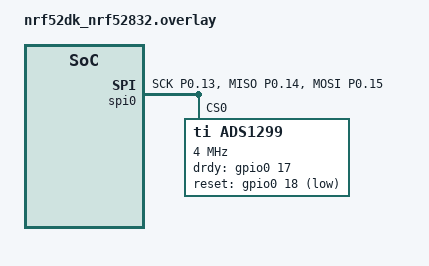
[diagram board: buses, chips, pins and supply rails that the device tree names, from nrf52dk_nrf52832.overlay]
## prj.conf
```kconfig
CONFIG_SPI=y
CONFIG_GPIO=y
CONFIG_LOG=y
CONFIG_SOC_NRF52832_ALLOW_SPIM_DESPITE_PAN_58=y
CONFIG_LOG_BACKEND_UART=y
```

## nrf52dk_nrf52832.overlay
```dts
&spi0 {
    compatible = "nordic,nrf-spim";
    status = "okay";
    pinctrl-0 = <&spi0_default>;
    pinctrl-1 = <&spi0_sleep>;
    pinctrl-names = "default", "sleep";

    ads1299: ads1299@0 {
        compatible = "ti,ads1299";
        reg = <0>;
        spi-max-frequency = <4000000>;
        spi-cpha;                  // Mode 1
        full-duplex;
        label = "ADS1299";

        cs-gpios = <&gpio0 16 GPIO_ACTIVE_LOW>;
        drdy-gpios = <&gpio0 17 GPIO_ACTIVE_HIGH>;
        reset-gpios = <&gpio0 18 GPIO_ACTIVE_LOW>;
    };
};

&pinctrl {
    spi0_default: spi0_default {
        group1 {
            psels = <NRF_PSEL(SPIM_SCK, 0, 13)>,
                    <NRF_PSEL(SPIM_MISO, 0, 14)>,
                    <NRF_PSEL(SPIM_MOSI, 0, 15)>;
        };
    };

    spi0_sleep: spi0_sleep {
        group1 {
            psels = <NRF_PSEL(SPIM_SCK, 0, 13)>,
                    <NRF_PSEL(SPIM_MISO, 0, 14)>,
                    <NRF_PSEL(SPIM_MOSI, 0, 15)>;
        };
    };
};

&button0 {
    status = "disabled";
};

&button1 {
    status = "disabled";
};

&button2 {
    status = "disabled";
};

&button3 {
    status = "disabled";
};

&pwm0 {
    status = "disabled";
};

&led0 {
    status = "disabled";
};

&led1 {
    status = "disabled";
};

&i2c0 {
    status = "disabled";
};
```

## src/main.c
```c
#include <zephyr/kernel.h>
#include <zephyr/device.h>
#include <zephyr/logging/log.h>
#include "asd1299.h"

LOG_MODULE_REGISTER(main, LOG_LEVEL_ERR);


void main(void)
{
        const struct device *dev = DEVICE_DT_GET_ONE(ti_ads1299);
        if(!device_is_ready(dev)){
                LOG_ERR("ADS1299 device not ready");
                return;
        }

        uint8_t id = 0;
        if(ads1299_read_id(dev, &id) == 0) {
                LOG_INF("ADS1299 ID: 0x%02X", id);
        }
        else {
                LOG_ERR("Failed to read ADS1299 ID");
        }
}
```

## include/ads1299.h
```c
//
//  ADS1299.h
//  Part of the Arduino Library
//  Created by Conor Russomanno, Luke Travis, and Joel Murphy. Summer 2013.
//
//  Modified by Chip Audette through April 2014
//

#ifndef ADS1299_H
#define ADS1299_H

#include <zephyr/device.h>
#include <zephyr/drivers/spi.h>
#include <zephyr/drivers/gpio.h>
#include <stdint.h>

//Register and command defintions; these values come from ads1299 datasheet(gemini also said they are universal)

//SPI command definitions
#define _WAKEUP     0x02 //wakeup from standby mode
#define _STANDBY    0x04 //Enter standby mode
#define _RESET      0x06 //reset the device
#define _START      0x08 //Start/restart (synchronise) conversions
#define _STOP       0x0A //stop conversion
#define _RDATAC     0x10 //Enable Read Data Continuous mode
#define _SDATAC     0x11 //Stop Read Data Continuous mode
#define _RDATA      0x12 //Read data by command

//Register Address
#define ID          0x00
#define ADS_CONFIG1 0x01
#define ADS_CONFIG2 0x02
#define ADS_CONFIG3 0x03
#define LOFF        0x04
#define CH1SET      0x05
#define CH2SET      0x06
#define CH3SET      0x07
#define CH4SET      0x08
#define CH5SET      0x09
#define CH6SET      0x0A
#define CH7SET      0x0B
#define CH8SET      0x0C
#define BIAS_SENSP  0x0D
#define BIAS_SENSN  0x0E
#define LOFF_SENSP  0x0F
#define LOFF_SENSN  0x10
#define LOFF_FLIP   0x11
#define LOFF_STATP  0x12
#define LOFF_STATN  0x13
#define GPIO        0x14
#define MISC1       0x15
#define MISC2       0x16
#define CONFIG4     0x17 

/*----------------------------------------------------------------------------------
Device Context Structure
------------------------------------------------------------------------------------*/
// struct ads1299_data {
//     const struct device *spi_dev;
//     struct spi_config spi_cfg;

//     const struct gpio_dt_spec drdy_gpio;
//     const struct gpio_dt_spec reset_gpio;
// }

struct ads1299_data {
    struct spi_dt_spec spi;
    struct gpio_dt_spec drdy_gpio;
    struct gpio_dt_spec reset_gpio;
};
//Public function properties; Public API for ads1299 driver; these functions will be called in main c to talk to ads
/*Read id function
    parameter:
    *dev-> pointer to the ads1299 device structure
    *id-> pointer to the device ID
*/
int ads1299_read_id(const struct device *dev, uint8_t *id);

/*Send a one byte command to the ads1299
    parameter:
    *dev-> pointer to the ads1299 device structure
    command -> the command byte to send from the above list
*/
int ads1299_send_command(const struct device *dev, uint8_t command);

/*Reads a single register from the ads1299
    parameter:
    *dev -> pointer to the ads1299 device structure
    address -> address of the register from list above
    value -> pointer to a variable where the value will be stored
*/
int ads1299_read_register(const struct device *dev, uint8_t address, uint8_t *value);

/*write a single value to a register in the ads1299
    parameter:
    *dev -> pointer to the ads1299 device structure
    address -> address of the register from the list above
    value -> the value to write to the register
*/
int ads1299_write_register(const struct device *dev, uint8_t address, uint8_t value);


#endif
```

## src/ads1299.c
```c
#include "ads1299.h"
#include <zephyr/kernel.h>
#include <zephyr/logging/log.h>
#include <zephyr/drivers/spi.h>

LOG_MODULE_REGISTER(ads1299, LOG_LEVEL_ERR);



static int ads1299_read_register(const struct device *dev, uint8_t reg, uint8_t *val){
    struct ads1299_data *data = dev->data;

    uint8_t tx_buf[3] = {0x20 | reg, 0x00, 0x00}; //read register command
    struct spi_buf tx = {.buf = tx_buf, .len = sizeof(tx_buf)};
    struct spi_buf rx = {.buf = tx_buf, .len = sizeof(tx_buf)};
    struct spi_buf_set tx_set = {.buffers = &tx, .count = 1};
    struct spi_buf_set rx_set = {.buffers = &tx, . count = 1};

    int ret = spi_transceive_dt(&data->spi, &tx_set, &rx_set);
    if(ret < 0 ){
        return ret;
    }

    *val = rx_buf[2];
    return 0;
}

int ads1299_read_id(const struct device *dev, uint8_t *id){
    return ads1299_read_register(dev, ADS1299_REG, ID);
}

static int ads1299_init(const struct device *dev){
    struct ads1299_data *data = dev->data;
    
    if(!spi_is_ready_dt(&data->spi)) {
        LOG_ERR("SPI bus not ready");
        return -ENODEV;
    }

    if(!device_is_ready(data->drdy_gpio.port)) {
        LOG_ERR("DRDY GPIO not ready");
        return -ENODEV;
    }

    gpio_pin_configure_dt(&data->drdy_gpio.port, GPIO_INPUT);

    if(!device_is_ready(data->reset_gpio.port)){
        LOG_ERR("RESET GPIO not ready");
        return -ENODEV;
    }

    LOG_INF("ADS1299 initialised");
    return 0;
}

#define ADS1299_DEFINE(inst) static struct ads1299_data ads1299_data_##inst = {
    .spi = SPI_DT_SPEC_GET(DT_DRV_INST(inst), SPI_WORD_SET(8) | SPI_TRANSFER_MSB, 0 ),
    .drdy_gpio = GPIO_DT_SPEC_GET(DT_DRV_INST(inst), drdy_gpios),
    .reset_gpio = GPIO_DT_SPEC_GET(DT_DRV_INST(inst), reset_gpios)
    };
    DEVICE_DT_INST_DEFINE(inst, ads1299_init, NULL, &ads1299_data_##inst, NULL, POST_KERNEL, CONFIG_KERNEL_INIT_PRIORITY_DEVICE, NULL);

    DT_INST_FOREACH_STATUS_OKAY(ADS1299_DEFINE)
```
